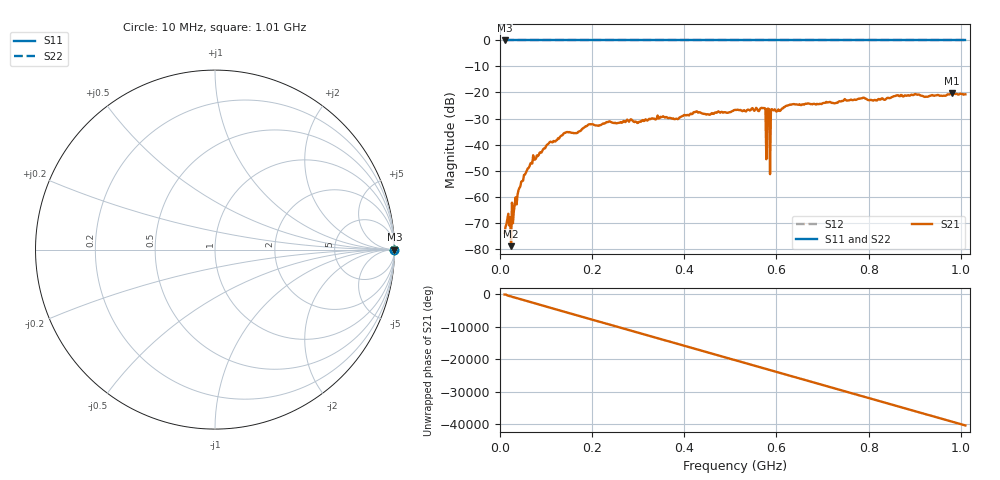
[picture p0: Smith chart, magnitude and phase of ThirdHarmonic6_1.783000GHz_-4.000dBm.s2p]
! 8/16/2025 9:33:14 PM
! C:\ANRITSUVNA\TEMP\TEMP.S2P
! CHANNEL.1
! TR.MEASUREMENT
! RAW.DATA
! RF.CORRECTION.OFF
! AVERAGING.OFF
! IF.BANDWIDTH: 5KHZ
! SWEEPTYPE:  FREQ.SWEEP(Linear)
! Reference Plane Port Info
! PORT:  PORT1  PORT2
! DISTANCE:  0  m  0  m
! TIME:  0  s  0  s
! PHASE.OFFSET:  0  deg.  0  deg.
! LOSS:  0  dB  0  dB
! REF.LOSS:  0  dB  0  dB
! REF.FREQ:  0  Hz  0  Hz
! Power Info
! POWER:  -20  dBm  -20  dBm
! EFF.POWER:  -20  dBm  -20  dBm
! SOURCE.ATTEN:  0  dB  0  dB
! TEST.ATTEN:  0  dB  0  dB
# GHZ S RI R 50.0
! FREQ.GHZ  S11RE  S11IM  S21RE  S21IM  S12RE  S12IM  S22RE  S22IM
!; PortSelection: Port_12
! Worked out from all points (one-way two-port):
!   501 points, 10 MHz to 1.01 GHz, reference 50 ohm
!   highest |S21| = -20.36 dB at 980 MHz (marker M1); lowest = -79.1 dB at 24 MHz (marker M2)
!   lowest |S11| = 0.0 dB at 10 MHz (marker M3)
!   |S11| at or under -10 dB: nowhere
!   |S22| runs from 0.0 to 0.0 dB; largest |S21 - S12| = 1.1
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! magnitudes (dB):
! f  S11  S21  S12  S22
! 10 MHz  0.0  -74.0  0.0  0.0
! 18 MHz  0.0  -66.6  0.0  0.0
! 24 MHz  0.0  -79.1  0.0  0.0
! 28 MHz  0.0  -70.2  0.0  0.0
! 30 MHz  0.0  -65.7  0.0  0.0
! 44 MHz  0.0  -56.2  0.0  0.0
! 70 MHz  0.0  -47.3  0.0  0.0
! 106 MHz  0.0  -39.5  0.0  0.0
! 178 MHz  0.0  -34.0  0.0  0.0
! 344 MHz  0.0  -30.0  0.0  0.0
! 510 MHz  0.0  -26.7  0.0  0.0
! 572 MHz  0.0  -26.0  0.0  0.0
! 574 MHz  0.0  -26.0  0.0  0.0
! 580 MHz  0.0  -26.4  0.0  0.0
! 582 MHz  0.0  -26.2  0.0  0.0
! 584 MHz  0.0  -26.4  0.0  0.0
! 590 MHz  0.0  -26.4  0.0  0.0
! 592 MHz  0.0  -26.7  0.0  0.0
! 678 MHz  0.0  -24.5  0.0  0.0
! 844 MHz  0.0  -22.1  0.0  0.0
! 980 MHz  0.0  -20.4  0.0  0.0
! 1.01 GHz  0.0  -20.7  0.0  0.0
